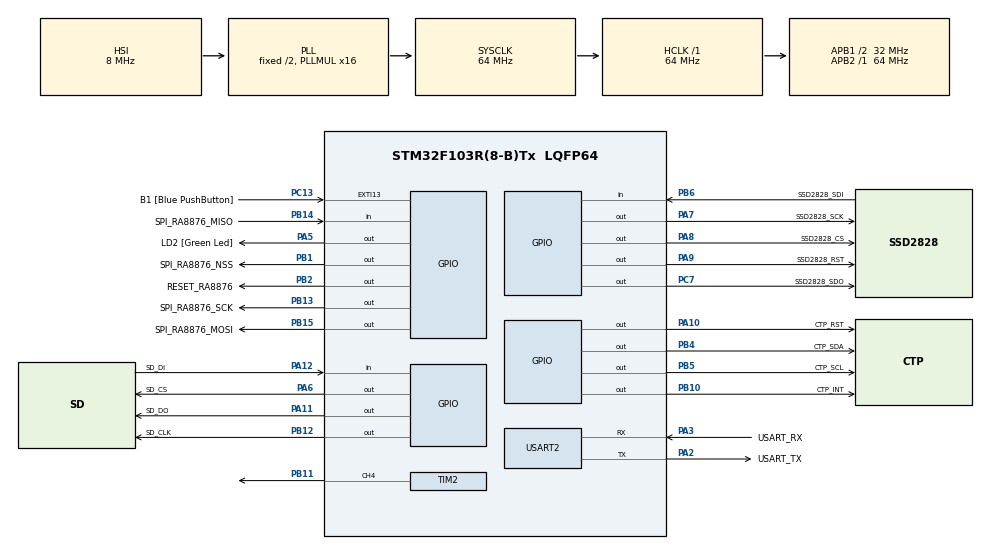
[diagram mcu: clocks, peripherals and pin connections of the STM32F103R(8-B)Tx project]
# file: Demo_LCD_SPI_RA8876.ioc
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Mcu.Family=STM32F1
Mcu.Name=STM32F103R(8-B)Tx
Mcu.Package=LQFP64
NVIC.EXTI15_10_IRQn=true\:0\:0\:false\:false\:true\:true\:true\:true
NVIC.PriorityGroup=NVIC_PRIORITYGROUP_4
PA10.GPIO_Label=CTP_RST
PA10.Signal=GPIO_Output
PA11.GPIO_Label=SD_DO
PA11.Signal=GPIO_Output
PA12.GPIO_Label=SD_DI
PA12.Signal=GPIO_Input
PA13.GPIO_Label=TMS
PA13.Mode=Serial_Wire
PA13.Signal=SYS_JTMS-SWDIO
PA14.GPIO_Label=TCK
PA14.Mode=Serial_Wire
PA14.Signal=SYS_JTCK-SWCLK
PA2.GPIO_Label=USART_TX
PA2.GPIO_Mode=GPIO_MODE_AF_PP
PA2.GPIO_PuPd=GPIO_NOPULL
PA2.GPIO_Speed=GPIO_SPEED_FREQ_LOW
PA2.Mode=Asynchronous
PA2.Signal=USART2_TX
PA3.GPIO_Label=USART_RX
PA3.GPIO_Mode=GPIO_MODE_AF_PP
PA3.GPIO_PuPd=GPIO_NOPULL
PA3.GPIO_Speed=GPIO_SPEED_FREQ_LOW
PA3.Mode=Asynchronous
PA3.Signal=USART2_RX
PA5.GPIO_Label=LD2 [Green Led]
PA5.GPIO_ModeDefaultOutputPP=GPIO_MODE_OUTPUT_PP
PA5.GPIO_PuPd=GPIO_NOPULL
PA5.GPIO_Speed=GPIO_SPEED_FREQ_LOW
PA5.Signal=GPIO_Output
PA6.GPIO_Label=SD_CS
PA6.Signal=GPIO_Output
PA7.GPIO_Label=SSD2828_SCK
PA7.Signal=GPIO_Output
PA8.GPIO_Label=SSD2828_CS
PA8.Signal=GPIO_Output
PA9.GPIO_Label=SSD2828_RST
PA9.Signal=GPIO_Output
PB1.GPIO_Label=SPI_RA8876_NSS
PB1.Signal=GPIO_Output
PB10.GPIO_Label=CTP_INT
PB10.Signal=GPIO_Output
PB11.Signal=S_TIM2_CH4
PB12.GPIO_Label=SD_CLK
PB12.Signal=GPIO_Output
PB13.GPIO_Label=SPI_RA8876_SCK
PB13.Signal=GPIO_Output
PB14.GPIO_Label=SPI_RA8876_MISO
PB14.GPIO_PuPd=GPIO_PULLUP
PB14.Signal=GPIO_Input
PB15.GPIO_Label=SPI_RA8876_MOSI
PB15.Signal=GPIO_Output
PB2.GPIO_Label=RESET_RA8876
PB2.Signal=GPIO_Output
PB3.GPIO_Label=SWO
PB3.Signal=SYS_JTDO-TRACESWO
PB4.GPIO_Label=CTP_SDA
PB4.Signal=GPIO_Output
PB5.GPIO_Label=CTP_SCL
PB5.Signal=GPIO_Output
PB6.GPIO_Label=SSD2828_SDI
PB6.Signal=GPIO_Input
PC13-TAMPER-RTC.GPIO_Label=B1 [Blue PushButton]
PC13-TAMPER-RTC.GPIO_PuPd=GPIO_NOPULL
PC13-TAMPER-RTC.Signal=GPXTI13
PC14-OSC32_IN.Mode=LSE-External-Oscillator
PC14-OSC32_IN.Signal=RCC_OSC32_IN
PC15-OSC32_OUT.Mode=LSE-External-Oscillator
PC15-OSC32_OUT.Signal=RCC_OSC32_OUT
PC7.GPIO_Label=SSD2828_SDO
PC7.Signal=GPIO_Output
PD0-OSC_IN.Mode=HSE-External-Clock-Source
PD0-OSC_IN.Signal=RCC_OSC_IN
PD1-OSC_OUT.Mode=HSE-External-Clock-Source
PD1-OSC_OUT.Signal=RCC_OSC_OUT
ProjectManager.HeapSize=0x200
ProjectManager.StackSize=0x400
ProjectManager.TargetToolchain=STM32CubeIDE
RCC.AHBFreq_Value=64000000
RCC.APB1CLKDivider=RCC_HCLK_DIV2
RCC.APB1Freq_Value=32000000
RCC.APB1TimFreq_Value=64000000
RCC.APB2Freq_Value=64000000
RCC.APB2TimFreq_Value=64000000
RCC.HCLKFreq_Value=64000000
RCC.PLLMUL=RCC_PLL_MUL16
RCC.RTCClockSelection=RCC_RTCCLKSOURCE_LSE
RCC.SYSCLKFreq_VALUE=64000000
RCC.SYSCLKSource=RCC_SYSCLKSOURCE_PLLCLK
RCC.USBFreq_Value=64000000
SH.S_TIM2_CH4.0=TIM2_CH4,PWM Generation4 CH4
TIM2.Channel-PWM\ Generation4\ CH4=TIM_CHANNEL_4
TIM2.Period=999
TIM2.Prescaler=999
TIM2.Pulse-PWM\ Generation4\ CH4=499
USART2.VirtualMode=VM_ASYNC
VP_TIM2_VS_ClockSourceINT.Mode=Internal
board=NUCLEO-F103RB

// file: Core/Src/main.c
/* USER CODE BEGIN Header */
/**
  ******************************************************************************
  * @file           : main.c
  * @brief          : Main program body
  ******************************************************************************
  * @attention
  *
  * Copyright (c) 2023 STMicroelectronics.
  * All rights reserved.
  *
  * This software is licensed under terms that can be found in the LICENSE file
  * in the root directory of this software component.
  * If no LICENSE file comes with this software, it is provided AS-IS.
  *
  ******************************************************************************
  */
/* USER CODE END Header */
#include "main.h"

/* USER CODE BEGIN Includes */
#include "RA8876.h"
#include "2828.h"
#include "TP.h"
#include "8876demo.h"
#include "sd.h"
/* USER CODE END Includes */

TIM_HandleTypeDef htim2;

UART_HandleTypeDef huart2;

/* USER CODE BEGIN PV */
char buttonClicked;
/* USER CODE END PV */

void SystemClock_Config(void);
static void MX_GPIO_Init(void);
static void MX_USART2_UART_Init(void);
static void MX_TIM2_Init(void);

int main(void)
{

  /* MCU Configuration--------------------------------------------------------*/

  /* Reset of all peripherals, Initializes the Flash interface and the Systick. */
  HAL_Init();

  /* Configure the system clock */
  SystemClock_Config();

  /* Initialize all configured peripherals */
  MX_GPIO_Init();
  MX_USART2_UART_Init();
  MX_TIM2_Init();
  /* USER CODE BEGIN 2 */
  SSD2828_Reset();
  SSD2828_initial();
  RA8876_HW_Reset();
  while(LCD_StatusRead()&0x02);	 //Initial_Display_test	and  set SW2 pin2 = 1
  RA8876_initial();
  Display_ON();
  delay_ms(20);
  Foreground_color_65k(White);
  Line_Start_XY(0,0);
  Line_End_XY(399,1279);
  Start_Square_Fill();
  /* USER CODE END 2 */

  /* Infinite loop */
  /* USER CODE BEGIN WHILE */
  while (1)
  {
	///////////////////////////////////////////////// BackLight  Brightness control test  whit RA8876's PWM0
	Enable_PWM0_Interrupt();
	Clear_PWM0_Interrupt_Flag();
	Mask_PWM0_Interrupt_Flag();
	Select_PWM0_Clock_Divided_By_2();
	Select_PWM0();
	Enable_PWM0_Dead_Zone();
	Auto_Reload_PWM0();
	Start_PWM0();
	Set_Timer0_Compare_Buffer(0xffff);
	/* 	 delay_ms(2000);
	Set_Timer0_Compare_Buffer(0x0000);
	delay_ms(2000);
	Set_Timer0_Compare_Buffer(0x0ff0);
	delay_ms(2000);
	Set_Timer0_Compare_Buffer(0xffff);
	delay_ms(2000);	*/
	TPTEST();
	// 	Geometric();
	Text_Demo();
	mono_Demo();
	gray();
	Display_JPG_SDCARD();
	delay_ms(3000);
	DMA_Demo();
	BTE_Pattern_Fill();
	BTE_Color_Expansion();
	PIP_Demo();
	App_Demo_Waveform();
	App_Demo_Scrolling_Text();
	App_Demo_slide_frame_buffer();
    App_Demo_multi_frame_buffer();
    /* USER CODE END WHILE */

  }
}

void SystemClock_Config(void)
{
  RCC_OscInitTypeDef RCC_OscInitStruct = {0};
  RCC_ClkInitTypeDef RCC_ClkInitStruct = {0};

  /** Initializes the RCC Oscillators according to the specified parameters
  * in the RCC_OscInitTypeDef structure.
  */
  RCC_OscInitStruct.OscillatorType = RCC_OSCILLATORTYPE_HSI;
  RCC_OscInitStruct.HSIState = RCC_HSI_ON;
  RCC_OscInitStruct.HSICalibrationValue = RCC_HSICALIBRATION_DEFAULT;
  RCC_OscInitStruct.PLL.PLLState = RCC_PLL_ON;
  RCC_OscInitStruct.PLL.PLLSource = RCC_PLLSOURCE_HSI_DIV2;
  RCC_OscInitStruct.PLL.PLLMUL = RCC_PLL_MUL16;
  if (HAL_RCC_OscConfig(&RCC_OscInitStruct) != HAL_OK)
  {
    Error_Handler();
  }

  /** Initializes the CPU, AHB and APB buses clocks
  */
  RCC_ClkInitStruct.ClockType = RCC_CLOCKTYPE_HCLK|RCC_CLOCKTYPE_SYSCLK
                              |RCC_CLOCKTYPE_PCLK1|RCC_CLOCKTYPE_PCLK2;
  RCC_ClkInitStruct.SYSCLKSource = RCC_SYSCLKSOURCE_PLLCLK;
  RCC_ClkInitStruct.AHBCLKDivider = RCC_SYSCLK_DIV1;
  RCC_ClkInitStruct.APB1CLKDivider = RCC_HCLK_DIV2;
  RCC_ClkInitStruct.APB2CLKDivider = RCC_HCLK_DIV1;

  if (HAL_RCC_ClockConfig(&RCC_ClkInitStruct, FLASH_LATENCY_2) != HAL_OK)
  {
    Error_Handler();
  }
}

static void MX_TIM2_Init(void)
{

  TIM_ClockConfigTypeDef sClockSourceConfig = {0};
  TIM_MasterConfigTypeDef sMasterConfig = {0};
  TIM_OC_InitTypeDef sConfigOC = {0};

  htim2.Instance = TIM2;
  htim2.Init.Prescaler = 999;
  htim2.Init.CounterMode = TIM_COUNTERMODE_UP;
  htim2.Init.Period = 999;
  htim2.Init.ClockDivision = TIM_CLOCKDIVISION_DIV1;
  htim2.Init.AutoReloadPreload = TIM_AUTORELOAD_PRELOAD_DISABLE;
  if (HAL_TIM_Base_Init(&htim2) != HAL_OK)
  {
    Error_Handler();
  }
  sClockSourceConfig.ClockSource = TIM_CLOCKSOURCE_INTERNAL;
  if (HAL_TIM_ConfigClockSource(&htim2, &sClockSourceConfig) != HAL_OK)
  {
    Error_Handler();
  }
  if (HAL_TIM_PWM_Init(&htim2) != HAL_OK)
  {
    Error_Handler();
  }
  sMasterConfig.MasterOutputTrigger = TIM_TRGO_RESET;
  sMasterConfig.MasterSlaveMode = TIM_MASTERSLAVEMODE_DISABLE;
  if (HAL_TIMEx_MasterConfigSynchronization(&htim2, &sMasterConfig) != HAL_OK)
  {
    Error_Handler();
  }
  sConfigOC.OCMode = TIM_OCMODE_PWM1;
  sConfigOC.Pulse = 499;
  sConfigOC.OCPolarity = TIM_OCPOLARITY_HIGH;
  sConfigOC.OCFastMode = TIM_OCFAST_DISABLE;
  if (HAL_TIM_PWM_ConfigChannel(&htim2, &sConfigOC, TIM_CHANNEL_4) != HAL_OK)
  {
    Error_Handler();
  }
  HAL_TIM_MspPostInit(&htim2);

}

static void MX_USART2_UART_Init(void)
{

  huart2.Instance = USART2;
  huart2.Init.BaudRate = 115200;
  huart2.Init.WordLength = UART_WORDLENGTH_8B;
  huart2.Init.StopBits = UART_STOPBITS_1;
  huart2.Init.Parity = UART_PARITY_NONE;
  huart2.Init.Mode = UART_MODE_TX_RX;
  huart2.Init.HwFlowCtl = UART_HWCONTROL_NONE;
  huart2.Init.OverSampling = UART_OVERSAMPLING_16;
  if (HAL_UART_Init(&huart2) != HAL_OK)
  {
    Error_Handler();
  }

}

static void MX_GPIO_Init(void)
{
  GPIO_InitTypeDef GPIO_InitStruct = {0};

  /* GPIO Ports Clock Enable */
  __HAL_RCC_GPIOC_CLK_ENABLE();
  __HAL_RCC_GPIOD_CLK_ENABLE();
  __HAL_RCC_GPIOA_CLK_ENABLE();
  __HAL_RCC_GPIOB_CLK_ENABLE();

  /*Configure GPIO pin Output Level */
  HAL_GPIO_WritePin(GPIOA, LD2_Pin|SD_CS_Pin|SSD2828_SCK_Pin|SSD2828_CS_Pin
                          |SSD2828_RST_Pin|CTP_RST_Pin|SD_DO_Pin, GPIO_PIN_RESET);

  /*Configure GPIO pin Output Level */
  HAL_GPIO_WritePin(GPIOB, SPI_RA8876_NSS_Pin|RESET_RA8876_Pin|CTP_INT_Pin|SD_CLK_Pin
                          |SPI_RA8876_SCK_Pin|SPI_RA8876_MOSI_Pin|CTP_SDA_Pin|CTP_SCL_Pin, GPIO_PIN_RESET);

  /*Configure GPIO pin Output Level */
  HAL_GPIO_WritePin(SSD2828_SDO_GPIO_Port, SSD2828_SDO_Pin, GPIO_PIN_RESET);

  /*Configure GPIO pin : B1_Pin */
  GPIO_InitStruct.Pin = B1_Pin;
  GPIO_InitStruct.Mode = GPIO_MODE_IT_RISING;
  GPIO_InitStruct.Pull = GPIO_NOPULL;
  HAL_GPIO_Init(B1_GPIO_Port, &GPIO_InitStruct);

  /*Configure GPIO pins : LD2_Pin SD_CS_Pin SSD2828_SCK_Pin SSD2828_CS_Pin
                           SSD2828_RST_Pin CTP_RST_Pin SD_DO_Pin */
  GPIO_InitStruct.Pin = LD2_Pin|SD_CS_Pin|SSD2828_SCK_Pin|SSD2828_CS_Pin
                          |SSD2828_RST_Pin|CTP_RST_Pin|SD_DO_Pin;
  GPIO_InitStruct.Mode = GPIO_MODE_OUTPUT_PP;
  GPIO_InitStruct.Pull = GPIO_NOPULL;
  GPIO_InitStruct.Speed = GPIO_SPEED_FREQ_LOW;
  HAL_GPIO_Init(GPIOA, &GPIO_InitStruct);

  /*Configure GPIO pins : SPI_RA8876_NSS_Pin RESET_RA8876_Pin CTP_INT_Pin SD_CLK_Pin
                           SPI_RA8876_SCK_Pin SPI_RA8876_MOSI_Pin CTP_SDA_Pin CTP_SCL_Pin */
  GPIO_InitStruct.Pin = SPI_RA8876_NSS_Pin|RESET_RA8876_Pin|CTP_INT_Pin|SD_CLK_Pin
                          |SPI_RA8876_SCK_Pin|SPI_RA8876_MOSI_Pin|CTP_SDA_Pin|CTP_SCL_Pin;
  GPIO_InitStruct.Mode = GPIO_MODE_OUTPUT_PP;
  GPIO_InitStruct.Pull = GPIO_NOPULL;
  GPIO_InitStruct.Speed = GPIO_SPEED_FREQ_LOW;
  HAL_GPIO_Init(GPIOB, &GPIO_InitStruct);

  /*Configure GPIO pin : SPI_RA8876_MISO_Pin */
  GPIO_InitStruct.Pin = SPI_RA8876_MISO_Pin;
  GPIO_InitStruct.Mode = GPIO_MODE_INPUT;
  GPIO_InitStruct.Pull = GPIO_PULLUP;
  HAL_GPIO_Init(SPI_RA8876_MISO_GPIO_Port, &GPIO_InitStruct);

  /*Configure GPIO pin : SSD2828_SDO_Pin */
  GPIO_InitStruct.Pin = SSD2828_SDO_Pin;
  GPIO_InitStruct.Mode = GPIO_MODE_OUTPUT_PP;
  GPIO_InitStruct.Pull = GPIO_NOPULL;
  GPIO_InitStruct.Speed = GPIO_SPEED_FREQ_LOW;
  HAL_GPIO_Init(SSD2828_SDO_GPIO_Port, &GPIO_InitStruct);

  /*Configure GPIO pin : SD_DI_Pin */
  GPIO_InitStruct.Pin = SD_DI_Pin;
  GPIO_InitStruct.Mode = GPIO_MODE_INPUT;
  GPIO_InitStruct.Pull = GPIO_NOPULL;
  HAL_GPIO_Init(SD_DI_GPIO_Port, &GPIO_InitStruct);

  /*Configure GPIO pin : SSD2828_SDI_Pin */
  GPIO_InitStruct.Pin = SSD2828_SDI_Pin;
  GPIO_InitStruct.Mode = GPIO_MODE_INPUT;
  GPIO_InitStruct.Pull = GPIO_NOPULL;
  HAL_GPIO_Init(SSD2828_SDI_GPIO_Port, &GPIO_InitStruct);

  /* EXTI interrupt init*/
  HAL_NVIC_SetPriority(EXTI15_10_IRQn, 0, 0);
  HAL_NVIC_EnableIRQ(EXTI15_10_IRQn);

}

/* USER CODE BEGIN 4 */
void HAL_GPIO_EXTI_Callback(uint16_t GPIO_Pin)
{
  /* Prevent unused argument(s) compilation warning */
  if(GPIO_Pin == B1_Pin)
  {
	  buttonClicked = 1;
  }
  /* NOTE: This function Should not be modified, when the callback is needed,
           the HAL_GPIO_EXTI_Callback could be implemented in the user file
   */
}
/* USER CODE END 4 */

void Error_Handler(void)
{
  __disable_irq();
  while (1)
  {
  }
}
